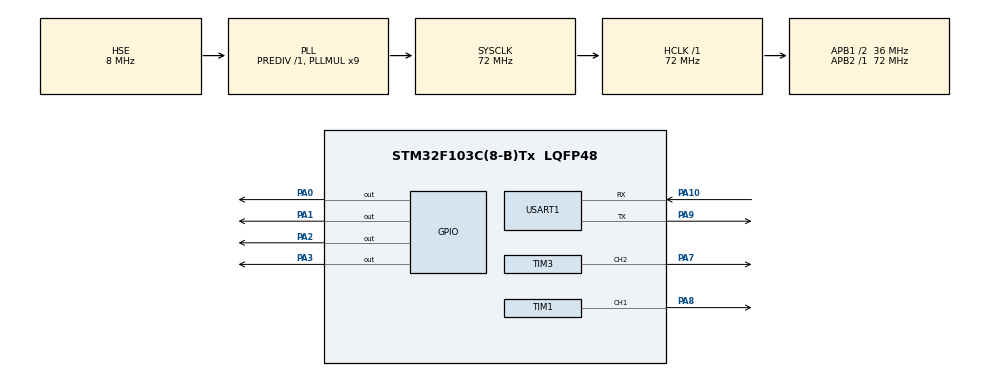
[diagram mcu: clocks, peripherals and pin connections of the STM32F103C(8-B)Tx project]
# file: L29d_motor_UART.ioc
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Mcu.Family=STM32F1
Mcu.Name=STM32F103C(8-B)Tx
Mcu.Package=LQFP48
NVIC.PriorityGroup=NVIC_PRIORITYGROUP_4
NVIC.USART1_IRQn=true\:0\:0\:false\:false\:true\:true\:true\:true
PA0-WKUP.Signal=GPIO_Output
PA1.Signal=GPIO_Output
PA10.Mode=Asynchronous
PA10.Signal=USART1_RX
PA13.Mode=Serial_Wire
PA13.Signal=SYS_JTMS-SWDIO
PA14.Mode=Serial_Wire
PA14.Signal=SYS_JTCK-SWCLK
PA2.Signal=GPIO_Output
PA3.Signal=GPIO_Output
PA7.Signal=S_TIM3_CH2
PA8.Signal=S_TIM1_CH1
PA9.Mode=Asynchronous
PA9.Signal=USART1_TX
PD0-OSC_IN.Mode=HSE-External-Oscillator
PD0-OSC_IN.Signal=RCC_OSC_IN
PD1-OSC_OUT.Mode=HSE-External-Oscillator
PD1-OSC_OUT.Signal=RCC_OSC_OUT
ProjectManager.HeapSize=0x200
ProjectManager.StackSize=0x400
ProjectManager.TargetToolchain=STM32CubeIDE
RCC.AHBFreq_Value=72000000
RCC.APB1CLKDivider=RCC_HCLK_DIV2
RCC.APB1Freq_Value=36000000
RCC.APB1TimFreq_Value=72000000
RCC.APB2Freq_Value=72000000
RCC.APB2TimFreq_Value=72000000
RCC.HCLKFreq_Value=72000000
RCC.PLLMUL=RCC_PLL_MUL9
RCC.PLLSourceVirtual=RCC_PLLSOURCE_HSE
RCC.SYSCLKFreq_VALUE=72000000
RCC.SYSCLKSource=RCC_SYSCLKSOURCE_PLLCLK
RCC.USBFreq_Value=72000000
SH.S_TIM1_CH1.0=TIM1_CH1,PWM Generation1 CH1
SH.S_TIM3_CH2.0=TIM3_CH2,PWM Generation2 CH2
TIM1.Channel-PWM\ Generation1\ CH1=TIM_CHANNEL_1
TIM1.Period=1000
TIM1.Prescaler=71
TIM3.Channel-PWM\ Generation2\ CH2=TIM_CHANNEL_2
TIM3.Period=1000
TIM3.Prescaler=71
USART1.VirtualMode=VM_ASYNC
VP_TIM1_VS_ClockSourceINT.Mode=Internal
VP_TIM3_VS_ClockSourceINT.Mode=Internal
board=custom

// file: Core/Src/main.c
/* USER CODE BEGIN Header */
/**
  ******************************************************************************
  * @file           : main.c
  * @brief          : Main program body
  ******************************************************************************
  * @attention
  *
  * Copyright (c) 2026 STMicroelectronics.
  * All rights reserved.
  *
  * This software is licensed under terms that can be found in the LICENSE file
  * in the root directory of this software component.
  * If no LICENSE file comes with this software, it is provided AS-IS.
  *
  ******************************************************************************
  */
/* USER CODE END Header */
#include "main.h"

TIM_HandleTypeDef htim1;
TIM_HandleTypeDef htim3;

UART_HandleTypeDef huart1;

void SystemClock_Config(void);
static void MX_GPIO_Init(void);
static void MX_TIM1_Init(void);
static void MX_TIM3_Init(void);
static void MX_USART1_UART_Init(void);

/* USER CODE BEGIN 0 */
/* USER CODE BEGIN 0 */
#include <string.h>
#include <stdio.h>

uint8_t rx_data;
uint16_t speed = 500; // 0–1000 (50% default)

/* --- Motor control --- */
void motor_stop(void)
{
  HAL_GPIO_WritePin(GPIOA, GPIO_PIN_0|GPIO_PIN_1|GPIO_PIN_2|GPIO_PIN_3, GPIO_PIN_RESET);
}

void motor_forward(void)
{
  // A forward, B forward
  HAL_GPIO_WritePin(GPIOA, GPIO_PIN_0, GPIO_PIN_SET);   // IN1
  HAL_GPIO_WritePin(GPIOA, GPIO_PIN_1, GPIO_PIN_RESET); // IN2
  HAL_GPIO_WritePin(GPIOA, GPIO_PIN_2, GPIO_PIN_SET);   // IN3
  HAL_GPIO_WritePin(GPIOA, GPIO_PIN_3, GPIO_PIN_RESET); // IN4
}

void motor_backward(void)
{
  HAL_GPIO_WritePin(GPIOA, GPIO_PIN_0, GPIO_PIN_RESET);
  HAL_GPIO_WritePin(GPIOA, GPIO_PIN_1, GPIO_PIN_SET);
  HAL_GPIO_WritePin(GPIOA, GPIO_PIN_2, GPIO_PIN_RESET);
  HAL_GPIO_WritePin(GPIOA, GPIO_PIN_3, GPIO_PIN_SET);
}

void motor_left(void)
{
  // Left motor stop/back, right forward (simple pivot)
  HAL_GPIO_WritePin(GPIOA, GPIO_PIN_0, GPIO_PIN_RESET);
  HAL_GPIO_WritePin(GPIOA, GPIO_PIN_1, GPIO_PIN_SET);
  HAL_GPIO_WritePin(GPIOA, GPIO_PIN_2, GPIO_PIN_SET);
  HAL_GPIO_WritePin(GPIOA, GPIO_PIN_3, GPIO_PIN_RESET);
}

void motor_right(void)
{
  HAL_GPIO_WritePin(GPIOA, GPIO_PIN_0, GPIO_PIN_SET);
  HAL_GPIO_WritePin(GPIOA, GPIO_PIN_1, GPIO_PIN_RESET);
  HAL_GPIO_WritePin(GPIOA, GPIO_PIN_2, GPIO_PIN_RESET);
  HAL_GPIO_WritePin(GPIOA, GPIO_PIN_3, GPIO_PIN_SET);
}

/* --- Apply PWM speed to both enables --- */
void motor_apply_speed(void)
{
  __HAL_TIM_SET_COMPARE(&htim1, TIM_CHANNEL_1, speed); // PA8 EN1
  __HAL_TIM_SET_COMPARE(&htim3, TIM_CHANNEL_2, speed); // PA7 EN2
}

/* --- UART RX interrupt callback --- */
void HAL_UART_RxCpltCallback(UART_HandleTypeDef *huart)
{
  if (huart->Instance == USART1)
  {
    switch (rx_data)
    {
      case 'F': motor_forward(); break;
      case 'B': motor_backward(); break;
      case 'L': motor_left(); break;
      case 'R': motor_right(); break;
      case 'S': motor_stop(); break;

      case '0': speed = 0; break;
      case '1': speed = 100; break;
      case '2': speed = 200; break;
      case '3': speed = 300; break;
      case '4': speed = 400; break;
      case '5': speed = 500; break;
      case '6': speed = 600; break;
      case '7': speed = 700; break;
      case '8': speed = 800; break;
      case '9': speed = 1000; break;
    }

    motor_apply_speed();

    // re-arm reception
    HAL_UART_Receive_IT(&huart1, &rx_data, 1);
  }
}
/* USER CODE END 0 */
/* USER CODE END 0 */

int main(void)
{

  /* MCU Configuration--------------------------------------------------------*/

  /* Reset of all peripherals, Initializes the Flash interface and the Systick. */
  HAL_Init();

  /* Configure the system clock */
  SystemClock_Config();

  /* Initialize all configured peripherals */
  MX_GPIO_Init();
  MX_TIM1_Init();
  MX_TIM3_Init();
  MX_USART1_UART_Init();
  /* USER CODE BEGIN 2 */
  /* USER CODE BEGIN 2 */
  HAL_TIM_PWM_Start(&htim1, TIM_CHANNEL_1); // PA8
  HAL_TIM_PWM_Start(&htim3, TIM_CHANNEL_2); // PA7

  motor_stop();
  motor_apply_speed();

  // Start UART interrupt reception (1 byte)
  HAL_UART_Receive_IT(&huart1, &rx_data, 1);
  /* USER CODE END 2 */
  /* USER CODE END 2 */

  /* Infinite loop */
  while (1)
  {

  }
}

void SystemClock_Config(void)
{
  RCC_OscInitTypeDef RCC_OscInitStruct = {0};
  RCC_ClkInitTypeDef RCC_ClkInitStruct = {0};

  /** Initializes the RCC Oscillators according to the specified parameters
  * in the RCC_OscInitTypeDef structure.
  */
  RCC_OscInitStruct.OscillatorType = RCC_OSCILLATORTYPE_HSE;
  RCC_OscInitStruct.HSEState = RCC_HSE_ON;
  RCC_OscInitStruct.HSEPredivValue = RCC_HSE_PREDIV_DIV1;
  RCC_OscInitStruct.HSIState = RCC_HSI_ON;
  RCC_OscInitStruct.PLL.PLLState = RCC_PLL_ON;
  RCC_OscInitStruct.PLL.PLLSource = RCC_PLLSOURCE_HSE;
  RCC_OscInitStruct.PLL.PLLMUL = RCC_PLL_MUL9;
  if (HAL_RCC_OscConfig(&RCC_OscInitStruct) != HAL_OK)
  {
    Error_Handler();
  }

  /** Initializes the CPU, AHB and APB buses clocks
  */
  RCC_ClkInitStruct.ClockType = RCC_CLOCKTYPE_HCLK|RCC_CLOCKTYPE_SYSCLK
                              |RCC_CLOCKTYPE_PCLK1|RCC_CLOCKTYPE_PCLK2;
  RCC_ClkInitStruct.SYSCLKSource = RCC_SYSCLKSOURCE_PLLCLK;
  RCC_ClkInitStruct.AHBCLKDivider = RCC_SYSCLK_DIV1;
  RCC_ClkInitStruct.APB1CLKDivider = RCC_HCLK_DIV2;
  RCC_ClkInitStruct.APB2CLKDivider = RCC_HCLK_DIV1;

  if (HAL_RCC_ClockConfig(&RCC_ClkInitStruct, FLASH_LATENCY_2) != HAL_OK)
  {
    Error_Handler();
  }
}

static void MX_TIM1_Init(void)
{

  TIM_ClockConfigTypeDef sClockSourceConfig = {0};
  TIM_MasterConfigTypeDef sMasterConfig = {0};
  TIM_OC_InitTypeDef sConfigOC = {0};
  TIM_BreakDeadTimeConfigTypeDef sBreakDeadTimeConfig = {0};

  htim1.Instance = TIM1;
  htim1.Init.Prescaler = 71;
  htim1.Init.CounterMode = TIM_COUNTERMODE_UP;
  htim1.Init.Period = 1000;
  htim1.Init.ClockDivision = TIM_CLOCKDIVISION_DIV1;
  htim1.Init.RepetitionCounter = 0;
  htim1.Init.AutoReloadPreload = TIM_AUTORELOAD_PRELOAD_DISABLE;
  if (HAL_TIM_Base_Init(&htim1) != HAL_OK)
  {
    Error_Handler();
  }
  sClockSourceConfig.ClockSource = TIM_CLOCKSOURCE_INTERNAL;
  if (HAL_TIM_ConfigClockSource(&htim1, &sClockSourceConfig) != HAL_OK)
  {
    Error_Handler();
  }
  if (HAL_TIM_PWM_Init(&htim1) != HAL_OK)
  {
    Error_Handler();
  }
  sMasterConfig.MasterOutputTrigger = TIM_TRGO_RESET;
  sMasterConfig.MasterSlaveMode = TIM_MASTERSLAVEMODE_DISABLE;
  if (HAL_TIMEx_MasterConfigSynchronization(&htim1, &sMasterConfig) != HAL_OK)
  {
    Error_Handler();
  }
  sConfigOC.OCMode = TIM_OCMODE_PWM1;
  sConfigOC.Pulse = 0;
  sConfigOC.OCPolarity = TIM_OCPOLARITY_HIGH;
  sConfigOC.OCNPolarity = TIM_OCNPOLARITY_HIGH;
  sConfigOC.OCFastMode = TIM_OCFAST_DISABLE;
  sConfigOC.OCIdleState = TIM_OCIDLESTATE_RESET;
  sConfigOC.OCNIdleState = TIM_OCNIDLESTATE_RESET;
  if (HAL_TIM_PWM_ConfigChannel(&htim1, &sConfigOC, TIM_CHANNEL_1) != HAL_OK)
  {
    Error_Handler();
  }
  sBreakDeadTimeConfig.OffStateRunMode = TIM_OSSR_DISABLE;
  sBreakDeadTimeConfig.OffStateIDLEMode = TIM_OSSI_DISABLE;
  sBreakDeadTimeConfig.LockLevel = TIM_LOCKLEVEL_OFF;
  sBreakDeadTimeConfig.DeadTime = 0;
  sBreakDeadTimeConfig.BreakState = TIM_BREAK_DISABLE;
  sBreakDeadTimeConfig.BreakPolarity = TIM_BREAKPOLARITY_HIGH;
  sBreakDeadTimeConfig.AutomaticOutput = TIM_AUTOMATICOUTPUT_DISABLE;
  if (HAL_TIMEx_ConfigBreakDeadTime(&htim1, &sBreakDeadTimeConfig) != HAL_OK)
  {
    Error_Handler();
  }
  HAL_TIM_MspPostInit(&htim1);

}

static void MX_TIM3_Init(void)
{

  TIM_ClockConfigTypeDef sClockSourceConfig = {0};
  TIM_MasterConfigTypeDef sMasterConfig = {0};
  TIM_OC_InitTypeDef sConfigOC = {0};

  htim3.Instance = TIM3;
  htim3.Init.Prescaler = 71;
  htim3.Init.CounterMode = TIM_COUNTERMODE_UP;
  htim3.Init.Period = 1000;
  htim3.Init.ClockDivision = TIM_CLOCKDIVISION_DIV1;
  htim3.Init.AutoReloadPreload = TIM_AUTORELOAD_PRELOAD_DISABLE;
  if (HAL_TIM_Base_Init(&htim3) != HAL_OK)
  {
    Error_Handler();
  }
  sClockSourceConfig.ClockSource = TIM_CLOCKSOURCE_INTERNAL;
  if (HAL_TIM_ConfigClockSource(&htim3, &sClockSourceConfig) != HAL_OK)
  {
    Error_Handler();
  }
  if (HAL_TIM_PWM_Init(&htim3) != HAL_OK)
  {
    Error_Handler();
  }
  sMasterConfig.MasterOutputTrigger = TIM_TRGO_RESET;
  sMasterConfig.MasterSlaveMode = TIM_MASTERSLAVEMODE_DISABLE;
  if (HAL_TIMEx_MasterConfigSynchronization(&htim3, &sMasterConfig) != HAL_OK)
  {
    Error_Handler();
  }
  sConfigOC.OCMode = TIM_OCMODE_PWM1;
  sConfigOC.Pulse = 0;
  sConfigOC.OCPolarity = TIM_OCPOLARITY_HIGH;
  sConfigOC.OCFastMode = TIM_OCFAST_DISABLE;
  if (HAL_TIM_PWM_ConfigChannel(&htim3, &sConfigOC, TIM_CHANNEL_2) != HAL_OK)
  {
    Error_Handler();
  }
  HAL_TIM_MspPostInit(&htim3);

}

static void MX_USART1_UART_Init(void)
{

  huart1.Instance = USART1;
  huart1.Init.BaudRate = 115200;
  huart1.Init.WordLength = UART_WORDLENGTH_8B;
  huart1.Init.StopBits = UART_STOPBITS_1;
  huart1.Init.Parity = UART_PARITY_NONE;
  huart1.Init.Mode = UART_MODE_TX_RX;
  huart1.Init.HwFlowCtl = UART_HWCONTROL_NONE;
  huart1.Init.OverSampling = UART_OVERSAMPLING_16;
  if (HAL_UART_Init(&huart1) != HAL_OK)
  {
    Error_Handler();
  }

}

static void MX_GPIO_Init(void)
{
  GPIO_InitTypeDef GPIO_InitStruct = {0};

  /* GPIO Ports Clock Enable */
  __HAL_RCC_GPIOD_CLK_ENABLE();
  __HAL_RCC_GPIOA_CLK_ENABLE();

  /*Configure GPIO pin Output Level */
  HAL_GPIO_WritePin(GPIOA, GPIO_PIN_0|GPIO_PIN_1|GPIO_PIN_2|GPIO_PIN_3, GPIO_PIN_RESET);

  /*Configure GPIO pins : PA0 PA1 PA2 PA3 */
  GPIO_InitStruct.Pin = GPIO_PIN_0|GPIO_PIN_1|GPIO_PIN_2|GPIO_PIN_3;
  GPIO_InitStruct.Mode = GPIO_MODE_OUTPUT_PP;
  GPIO_InitStruct.Pull = GPIO_NOPULL;
  GPIO_InitStruct.Speed = GPIO_SPEED_FREQ_LOW;
  HAL_GPIO_Init(GPIOA, &GPIO_InitStruct);

}

void Error_Handler(void)
{
  __disable_irq();
  while (1)
  {
  }
}
